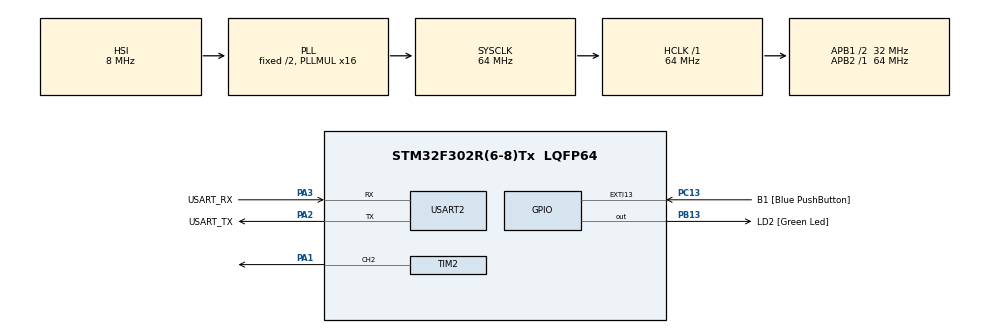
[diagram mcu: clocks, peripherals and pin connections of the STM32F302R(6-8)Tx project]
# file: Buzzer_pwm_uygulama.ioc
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Mcu.Family=STM32F3
Mcu.Name=STM32F302R(6-8)Tx
Mcu.Package=LQFP64
NVIC.PriorityGroup=NVIC_PRIORITYGROUP_0
PA1.Signal=S_TIM2_CH2
PA13.GPIO_Label=TMS
PA13.Mode=Serial_Wire
PA13.Signal=SYS_JTMS-SWDIO
PA14.GPIO_Label=TCK
PA14.Mode=Serial_Wire
PA14.Signal=SYS_JTCK-SWCLK
PA2.GPIO_Label=USART_TX
PA2.GPIO_Mode=GPIO_MODE_AF_PP
PA2.GPIO_PuPd=GPIO_NOPULL
PA2.GPIO_Speed=GPIO_SPEED_FREQ_LOW
PA2.Mode=Asynchronous
PA2.Signal=USART2_TX
PA3.GPIO_Label=USART_RX
PA3.GPIO_Mode=GPIO_MODE_AF_PP
PA3.GPIO_PuPd=GPIO_NOPULL
PA3.GPIO_Speed=GPIO_SPEED_FREQ_LOW
PA3.Mode=Asynchronous
PA3.Signal=USART2_RX
PB13.GPIO_Label=LD2 [Green Led]
PB13.Signal=GPIO_Output
PB3.GPIO_Label=SWO
PB3.Mode=Trace_Asynchronous_SW
PB3.Signal=SYS_JTDO-TRACESWO
PC13.GPIO_Label=B1 [Blue PushButton]
PC13.GPIO_ModeDefaultEXTI=GPIO_MODE_IT_FALLING
PC13.Signal=GPXTI13
PC14\ -\ OSC32_IN.Mode=LSE-External-Oscillator
PC14\ -\ OSC32_IN.Signal=RCC_OSC32_IN
PC15\ -\ OSC32_OUT.Mode=LSE-External-Oscillator
PC15\ -\ OSC32_OUT.Signal=RCC_OSC32_OUT
PF0-OSC_IN.Mode=HSE-External-Clock-Source
PF0-OSC_IN.Signal=RCC_OSC_IN
PF1-OSC_OUT.Signal=RCC_OSC_OUT
ProjectManager.HeapSize=0x200
ProjectManager.StackSize=0x400
ProjectManager.TargetToolchain=STM32CubeIDE
RCC.AHBFreq_Value=64000000
RCC.APB1CLKDivider=RCC_HCLK_DIV2
RCC.APB1Freq_Value=32000000
RCC.APB1TimFreq_Value=64000000
RCC.APB2Freq_Value=64000000
RCC.APB2TimFreq_Value=64000000
RCC.CortexFreq_Value=64000000
RCC.HCLKFreq_Value=64000000
RCC.HSE_VALUE=8000000
RCC.HSI_VALUE=8000000
RCC.PLLM=8
RCC.PLLMUL=RCC_PLL_MUL16
RCC.PLLN=336
RCC.PLLP=RCC_PLLP_DIV4
RCC.PLLQ=7
RCC.RCC_PLLsource_Clock_Source_FROM_HSE=RCC_HSE_PREDIV_DIV2
RCC.SYSCLKFreq_VALUE=64000000
RCC.SYSCLKSourceVirtual=RCC_SYSCLKSOURCE_PLLCLK
RCC.USBFreq_Value=64000000
SH.S_TIM2_CH2.0=TIM2_CH2,PWM Generation2 CH2
TIM2.Channel-PWM\ Generation2\ CH2=TIM_CHANNEL_2
TIM2.Period=100
TIM2.Prescaler=640-1
USART2.VirtualMode-Asynchronous=VM_ASYNC
VP_TIM2_VS_ClockSourceINT.Mode=Internal
board=NUCLEO-F302R8

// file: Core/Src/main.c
/* USER CODE BEGIN Header */
/**
  ******************************************************************************
  * @file           : main.c
  * @brief          : Main program body
  ******************************************************************************
  * @attention
  *
  * Copyright (c) 2024 STMicroelectronics.
  * All rights reserved.
  *
  * This software is licensed under terms that can be found in the LICENSE file
  * in the root directory of this software component.
  * If no LICENSE file comes with this software, it is provided AS-IS.
  *
  ******************************************************************************
  */
/* USER CODE END Header */
#include "main.h"

TIM_HandleTypeDef htim2;

UART_HandleTypeDef huart2;

void SystemClock_Config(void);
static void MX_GPIO_Init(void);
static void MX_USART2_UART_Init(void);
static void MX_TIM2_Init(void);

/* USER CODE BEGIN 0 */
void note(uint16_t autoR,uint16_t workTime,uint16_t waitTime)
{
	__HAL_TIM_SET_AUTORELOAD(&htim2, autoR);//auto reload
	__HAL_TIM_SET_COMPARE(&htim2, TIM_CHANNEL_2,autoR/2);//%50 duty cycle
	HAL_Delay(workTime);
	__HAL_TIM_SET_COMPARE(&htim2, TIM_CHANNEL_2, 0);//stop pwm
	HAL_Delay(waitTime);
}
void muslumg_mutluOlYeter()
{
//	AutoReloud  NOTE(for F302R8)-(for prescaler 640-1)
	//	  382    C
	//	  340    D
	//	  303    E
	//	  287    F
	//	  255    G
	//	  227    A
	//	  202    B
	//	  191    C#
// muslum gurses-mutlu ol yeter

	note(303, 233, 240);
	note(255, 248, 140);
	note(202, 270, 120);
	note(255, 250, 180);
	note(227, 690, 30);
	note(202, 200, 500);
	note(303, 230, 190);
	note(255, 130, 220);
	note(202, 230, 135);
	note(255, 238, 125);
	note(227, 340, 10);
	note(202, 396, 10);
	note(255, 144, 34);
	note(287, 146, 20);
	note(303, 225, 420);
}
/* USER CODE END 0 */

int main(void)
{

  /* MCU Configuration--------------------------------------------------------*/

  /* Reset of all peripherals, Initializes the Flash interface and the Systick. */
  HAL_Init();

  /* Configure the system clock */
  SystemClock_Config();

  /* Initialize all configured peripherals */
  MX_GPIO_Init();
  MX_USART2_UART_Init();
  MX_TIM2_Init();
  /* USER CODE BEGIN 2 */

  HAL_TIM_PWM_Start(&htim2, TIM_CHANNEL_2); //PWM start

  /* USER CODE END 2 */

  /* Infinite loop */
  while (1)
  {

    /* USER CODE BEGIN 3 */

	  muslumg_mutluOlYeter();

  }
  /* USER CODE END 3 */
}

void SystemClock_Config(void)
{
  RCC_OscInitTypeDef RCC_OscInitStruct = {0};
  RCC_ClkInitTypeDef RCC_ClkInitStruct = {0};

  /** Initializes the RCC Oscillators according to the specified parameters
  * in the RCC_OscInitTypeDef structure.
  */
  RCC_OscInitStruct.OscillatorType = RCC_OSCILLATORTYPE_HSI;
  RCC_OscInitStruct.HSIState = RCC_HSI_ON;
  RCC_OscInitStruct.HSICalibrationValue = RCC_HSICALIBRATION_DEFAULT;
  RCC_OscInitStruct.PLL.PLLState = RCC_PLL_ON;
  RCC_OscInitStruct.PLL.PLLSource = RCC_PLLSOURCE_HSI;
  RCC_OscInitStruct.PLL.PLLMUL = RCC_PLL_MUL16;
  if (HAL_RCC_OscConfig(&RCC_OscInitStruct) != HAL_OK)
  {
    Error_Handler();
  }

  /** Initializes the CPU, AHB and APB buses clocks
  */
  RCC_ClkInitStruct.ClockType = RCC_CLOCKTYPE_HCLK|RCC_CLOCKTYPE_SYSCLK
                              |RCC_CLOCKTYPE_PCLK1|RCC_CLOCKTYPE_PCLK2;
  RCC_ClkInitStruct.SYSCLKSource = RCC_SYSCLKSOURCE_PLLCLK;
  RCC_ClkInitStruct.AHBCLKDivider = RCC_SYSCLK_DIV1;
  RCC_ClkInitStruct.APB1CLKDivider = RCC_HCLK_DIV2;
  RCC_ClkInitStruct.APB2CLKDivider = RCC_HCLK_DIV1;

  if (HAL_RCC_ClockConfig(&RCC_ClkInitStruct, FLASH_LATENCY_2) != HAL_OK)
  {
    Error_Handler();
  }
}

static void MX_TIM2_Init(void)
{

  TIM_ClockConfigTypeDef sClockSourceConfig = {0};
  TIM_MasterConfigTypeDef sMasterConfig = {0};
  TIM_OC_InitTypeDef sConfigOC = {0};

  htim2.Instance = TIM2;
  htim2.Init.Prescaler = 640-1;
  htim2.Init.CounterMode = TIM_COUNTERMODE_UP;
  htim2.Init.Period = 100;
  htim2.Init.ClockDivision = TIM_CLOCKDIVISION_DIV1;
  htim2.Init.AutoReloadPreload = TIM_AUTORELOAD_PRELOAD_DISABLE;
  if (HAL_TIM_Base_Init(&htim2) != HAL_OK)
  {
    Error_Handler();
  }
  sClockSourceConfig.ClockSource = TIM_CLOCKSOURCE_INTERNAL;
  if (HAL_TIM_ConfigClockSource(&htim2, &sClockSourceConfig) != HAL_OK)
  {
    Error_Handler();
  }
  if (HAL_TIM_PWM_Init(&htim2) != HAL_OK)
  {
    Error_Handler();
  }
  sMasterConfig.MasterOutputTrigger = TIM_TRGO_RESET;
  sMasterConfig.MasterSlaveMode = TIM_MASTERSLAVEMODE_DISABLE;
  if (HAL_TIMEx_MasterConfigSynchronization(&htim2, &sMasterConfig) != HAL_OK)
  {
    Error_Handler();
  }
  sConfigOC.OCMode = TIM_OCMODE_PWM1;
  sConfigOC.Pulse = 0;
  sConfigOC.OCPolarity = TIM_OCPOLARITY_HIGH;
  sConfigOC.OCFastMode = TIM_OCFAST_DISABLE;
  if (HAL_TIM_PWM_ConfigChannel(&htim2, &sConfigOC, TIM_CHANNEL_2) != HAL_OK)
  {
    Error_Handler();
  }
  HAL_TIM_MspPostInit(&htim2);

}

static void MX_USART2_UART_Init(void)
{

  huart2.Instance = USART2;
  huart2.Init.BaudRate = 38400;
  huart2.Init.WordLength = UART_WORDLENGTH_8B;
  huart2.Init.StopBits = UART_STOPBITS_1;
  huart2.Init.Parity = UART_PARITY_NONE;
  huart2.Init.Mode = UART_MODE_TX_RX;
  huart2.Init.HwFlowCtl = UART_HWCONTROL_NONE;
  huart2.Init.OverSampling = UART_OVERSAMPLING_16;
  huart2.Init.OneBitSampling = UART_ONE_BIT_SAMPLE_DISABLE;
  huart2.AdvancedInit.AdvFeatureInit = UART_ADVFEATURE_NO_INIT;
  if (HAL_UART_Init(&huart2) != HAL_OK)
  {
    Error_Handler();
  }

}

static void MX_GPIO_Init(void)
{
  GPIO_InitTypeDef GPIO_InitStruct = {0};

  /* GPIO Ports Clock Enable */
  __HAL_RCC_GPIOC_CLK_ENABLE();
  __HAL_RCC_GPIOF_CLK_ENABLE();
  __HAL_RCC_GPIOA_CLK_ENABLE();
  __HAL_RCC_GPIOB_CLK_ENABLE();

  /*Configure GPIO pin Output Level */
  HAL_GPIO_WritePin(LD2_GPIO_Port, LD2_Pin, GPIO_PIN_RESET);

  /*Configure GPIO pin : B1_Pin */
  GPIO_InitStruct.Pin = B1_Pin;
  GPIO_InitStruct.Mode = GPIO_MODE_IT_FALLING;
  GPIO_InitStruct.Pull = GPIO_NOPULL;
  HAL_GPIO_Init(B1_GPIO_Port, &GPIO_InitStruct);

  /*Configure GPIO pin : LD2_Pin */
  GPIO_InitStruct.Pin = LD2_Pin;
  GPIO_InitStruct.Mode = GPIO_MODE_OUTPUT_PP;
  GPIO_InitStruct.Pull = GPIO_NOPULL;
  GPIO_InitStruct.Speed = GPIO_SPEED_FREQ_LOW;
  HAL_GPIO_Init(LD2_GPIO_Port, &GPIO_InitStruct);

}

void Error_Handler(void)
{
  __disable_irq();
  while (1)
  {
  }
}
